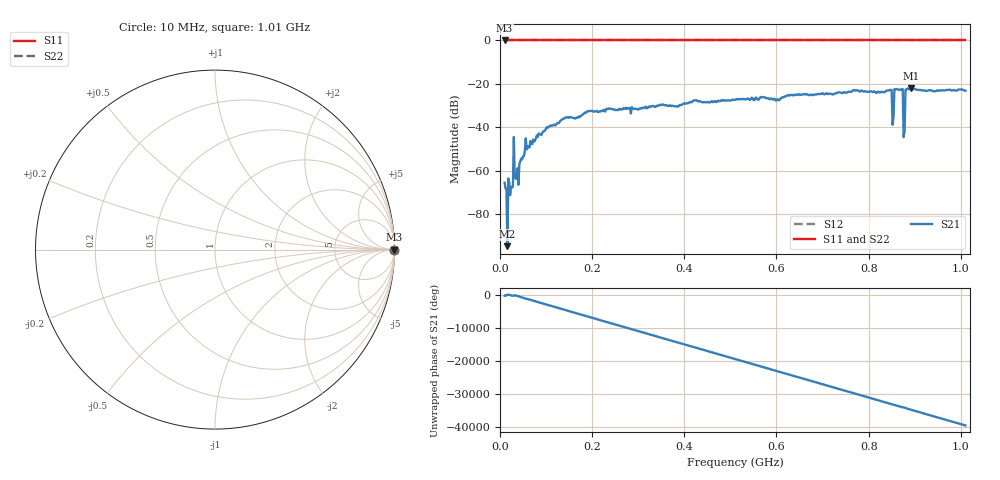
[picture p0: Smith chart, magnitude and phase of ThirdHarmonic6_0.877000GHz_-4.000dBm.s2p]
! 8/16/2025 4:54:16 AM
! C:\ANRITSUVNA\TEMP\TEMP.S2P
! CHANNEL.1
! TR.MEASUREMENT
! RAW.DATA
! RF.CORRECTION.OFF
! AVERAGING.OFF
! IF.BANDWIDTH: 5KHZ
! SWEEPTYPE:  FREQ.SWEEP(Linear)
! Reference Plane Port Info
! PORT:  PORT1  PORT2
! DISTANCE:  0  m  0  m
! TIME:  0  s  0  s
! PHASE.OFFSET:  0  deg.  0  deg.
! LOSS:  0  dB  0  dB
! REF.LOSS:  0  dB  0  dB
! REF.FREQ:  0  Hz  0  Hz
! Power Info
! POWER:  -20  dBm  -20  dBm
! EFF.POWER:  -20  dBm  -20  dBm
! SOURCE.ATTEN:  0  dB  0  dB
! TEST.ATTEN:  0  dB  0  dB
# GHZ S RI R 50.0
! FREQ.GHZ  S11RE  S11IM  S21RE  S21IM  S12RE  S12IM  S22RE  S22IM
!; PortSelection: Port_12
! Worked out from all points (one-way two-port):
!   501 points, 10 MHz to 1.01 GHz, reference 50 ohm
!   highest |S21| = -21.98 dB at 892 MHz (marker M1); lowest = -94.8 dB at 16 MHz (marker M2)
!   lowest |S11| = 0.0 dB at 10 MHz (marker M3)
!   |S11| at or under -10 dB: nowhere
!   |S22| runs from 0.0 to 0.0 dB; largest |S21 - S12| = 1.1
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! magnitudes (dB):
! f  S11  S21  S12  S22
! 10 MHz  0.0  -65.5  0.0  0.0
! 16 MHz  0.0  -94.8  0.0  0.0
! 24 MHz  0.0  -67.4  0.0  0.0
! 34 MHz  0.0  -63.1  0.0  0.0
! 36 MHz  0.0  -63.9  0.0  0.0
! 58 MHz  0.0  -50.1  0.0  0.0
! 106 MHz  0.0  -39.7  0.0  0.0
! 178 MHz  0.0  -34.4  0.0  0.0
! 344 MHz  0.0  -30.1  0.0  0.0
! 510 MHz  0.0  -27.4  0.0  0.0
! 678 MHz  0.0  -25.1  0.0  0.0
! 844 MHz  0.0  -23.0  0.0  0.0
! 850 MHz  0.0  -22.8  0.0  0.0
! 856 MHz  0.0  -22.4  0.0  0.0
! 860 MHz  0.0  -22.5  0.0  0.0
! 870 MHz  0.0  -22.7  0.0  0.0
! 874 MHz  0.0  -22.4  0.0  0.0
! 878 MHz  0.0  -41.9  0.0  0.0
! 880 MHz  0.0  -22.7  0.0  0.0
! 884 MHz  0.0  -22.1  0.0  0.0
! 892 MHz  0.0  -22.0  0.0  0.0
! 1.01 GHz  0.0  -23.2  0.0  0.0
